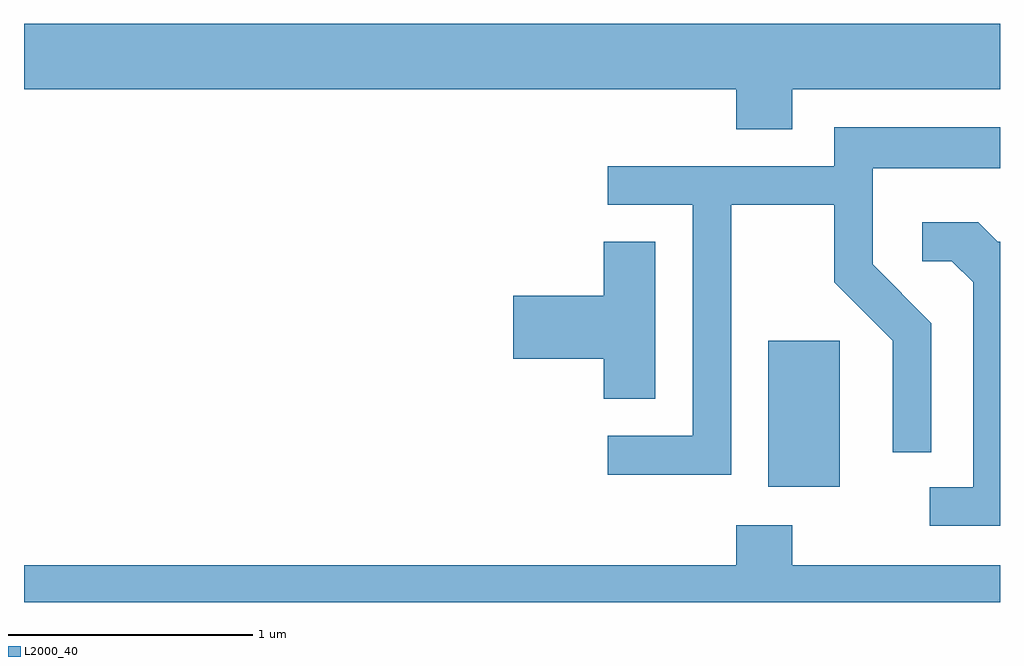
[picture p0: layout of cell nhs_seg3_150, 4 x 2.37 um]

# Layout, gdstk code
import gdstk
lib = gdstk.Library(unit=1e-6, precision=1e-09)
def R(c, l, rs):  # rectangles x0, y0, x1, y1
    for r in rs: c.add(gdstk.rectangle(r[:2], r[2:], *l))
def P(c, l, *ps):  # polygons
    for p in ps: c.add(gdstk.Polygon(p, *l))
L2000_40 = (2000, 40)

nhs_seg3_150 = lib.new_cell('nhs_seg3_150')
R(nhs_seg3_150, L2000_40, [(192.661,1144.366,192.954,1144.964)])
P(nhs_seg3_150, L2000_40, [(192.759,1145.996),(193.611,1145.996),(193.611,1146.264),(189.611,1146.264),(189.611,1145.996),(192.531,1145.996),(192.531,1145.831),(192.759,1145.831)],
  [(192.509,1145.521),(192.931,1145.521),(192.931,1145.204),(193.171,1144.964),(193.171,1144.508),(193.329,1144.508),(193.329,1145.037),(193.089,1145.277),(193.089,1145.671),(193.611,1145.671),(193.611,1145.839),(192.931,1145.839),(192.931,1145.679),(192.003,1145.679),(192.003,1145.521),(192.351,1145.521),(192.351,1144.574),(192.003,1144.574),(192.003,1144.416),(192.509,1144.416)],
  [(193.611,1145.369),(193.602,1145.369),(193.522,1145.449),(193.293,1145.449),(193.293,1145.291),(193.414,1145.291),(193.501,1145.204),(193.501,1144.364),(193.323,1144.364),(193.323,1144.206),(193.611,1144.206)],
  [(192.199,1145.369),(191.986,1145.369),(191.986,1145.149),(191.616,1145.149),(191.616,1144.891),(191.986,1144.891),(191.986,1144.726),(192.199,1144.726)],
  [(193.611,1144.044),(192.759,1144.044),(192.759,1144.209),(192.531,1144.209),(192.531,1144.044),(189.611,1144.044),(189.611,1143.892),(193.611,1143.892)])

lib.write_gds('nhs_seg3_150.gds')
